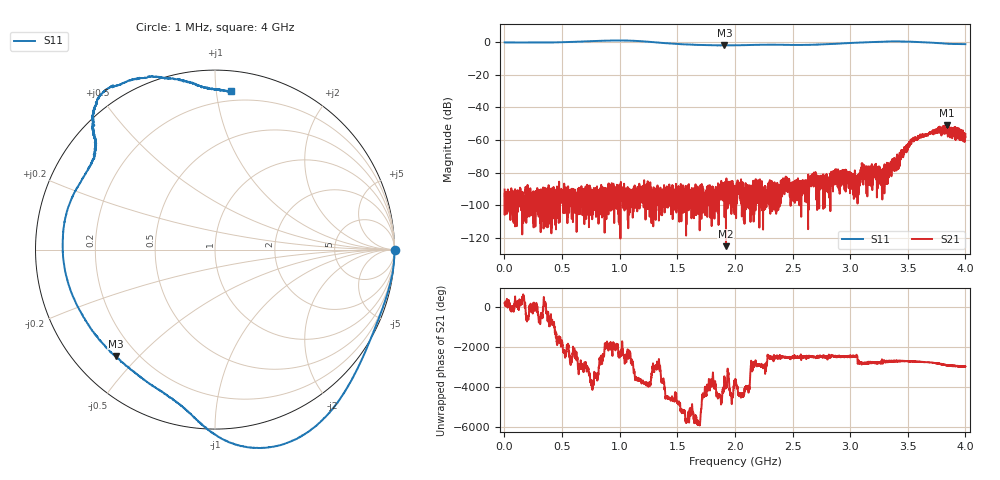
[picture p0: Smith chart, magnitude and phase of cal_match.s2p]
!Created with skrf (http://scikit-rf.org).
# GHz S RI R 50.0
!freq ReS11 ImS11 ReS21 ImS21 ReS12 ImS12 ReS22 ImS22
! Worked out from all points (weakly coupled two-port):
!   4000 points, 1 MHz to 4 GHz, reference 50 ohm
!   highest |S21| = -51.04 dB at 3.843 GHz (marker M1); lowest = -125.3 dB at 1.922 GHz (marker M2)
!   lowest |S11| = -1.8 dB at 1.909 GHz (marker M3), VSWR 9.57, Z = 6.2 - j21.5 ohm
!   |S11| at or under -10 dB: nowhere
!   S12 and S22 are empty: the file has one direction only
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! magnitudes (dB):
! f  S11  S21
! 1 MHz  0.0  -90.5
! 668 MHz  0.5  -88.6
! 1.028 GHz  1.2  -101.7
! 1.334 GHz  -0.1  -99.5
! 1.909 GHz  -1.8  -90.0
! 1.922 GHz  -1.8  -125.3
! 2.001 GHz  -1.8  -88.6
! 2.667 GHz  -1.5  -84.5
! 3.07 GHz  -0.1  -82.4
! 3.117 GHz  0.0  -81.6
! 3.154 GHz  0.1  -77.6
! 3.208 GHz  0.3  -78.3
! 3.277 GHz  0.4  -81.8
! 3.334 GHz  0.6  -74.1
! 3.411 GHz  0.6  -69.6
! 3.452 GHz  0.6  -67.9
! 3.545 GHz  0.4  -59.4
! 3.757 GHz  -0.4  -55.8
! 3.843 GHz  -0.8  -51.0
! 3.944 GHz  -1.0  -55.8
! 3.977 GHz  -1.1  -59.6
! 4 GHz  -1.1  -56.4
